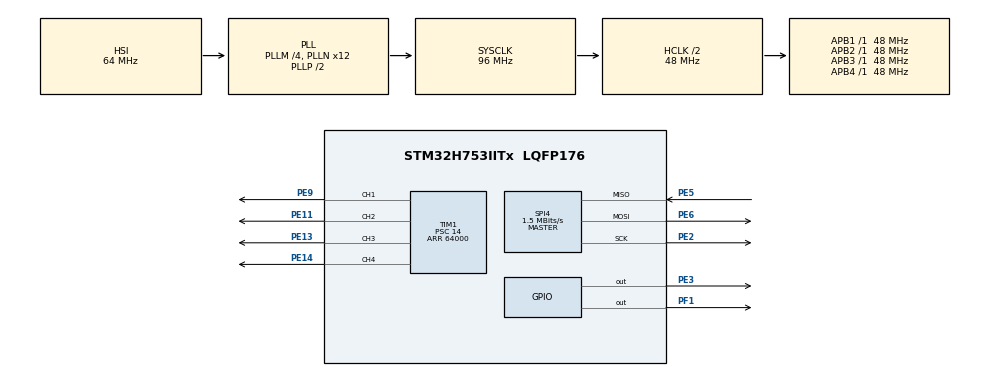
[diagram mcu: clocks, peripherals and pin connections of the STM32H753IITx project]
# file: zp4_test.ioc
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CORTEX_M7.default_mode_Activation=1
Mcu.Family=STM32H7
Mcu.Name=STM32H753IITx
Mcu.Package=LQFP176
NVIC.PriorityGroup=NVIC_PRIORITYGROUP_4
PE11.Signal=S_TIM1_CH2
PE13.Signal=S_TIM1_CH3
PE14.Signal=S_TIM1_CH4
PE2.Mode=Full_Duplex_Master
PE2.Signal=SPI4_SCK
PE3.Signal=GPIO_Output
PE5.Mode=Full_Duplex_Master
PE5.Signal=SPI4_MISO
PE6.Mode=Full_Duplex_Master
PE6.Signal=SPI4_MOSI
PE9.Signal=S_TIM1_CH1
PF1.Signal=GPIO_Output
ProjectManager.HeapSize=0x200
ProjectManager.StackSize=0x400
ProjectManager.TargetToolchain=STM32CubeIDE
RCC.ADCFreq_Value=129000000
RCC.APB1Freq_Value=48000000
RCC.APB2Freq_Value=48000000
RCC.APB3Freq_Value=48000000
RCC.APB4Freq_Value=48000000
RCC.CortexFreq_Value=48000000
RCC.D1CPRE=RCC_SYSCLK_DIV2
RCC.DIVM1=4
RCC.DIVN1=12
RCC.HCLKFreq_Value=48000000
RCC.PLL2FRACN=0
RCC.PLL3FRACN=0
RCC.PLLFRACN=0
RCC.SYSCLKFreq_VALUE=96000000
RCC.SYSCLKSource=RCC_SYSCLKSOURCE_PLLCLK
RCC.USBFreq_Value=96000000
SH.S_TIM1_CH1.0=TIM1_CH1,PWM Generation1 CH1
SH.S_TIM1_CH2.0=TIM1_CH2,PWM Generation2 CH2
SH.S_TIM1_CH3.0=TIM1_CH3,PWM Generation3 CH3
SH.S_TIM1_CH4.0=TIM1_CH4,PWM Generation4 CH4
SPI4.BaudRatePrescaler=SPI_BAUDRATEPRESCALER_32
SPI4.CalculateBaudRate=1.5 MBits/s
SPI4.DataSize=SPI_DATASIZE_8BIT
SPI4.Direction=SPI_DIRECTION_2LINES
SPI4.FirstBit=SPI_FIRSTBIT_LSB
SPI4.Mode=SPI_MODE_MASTER
SPI4.VirtualType=VM_MASTER
TIM1.Channel-PWM\ Generation1\ CH1=TIM_CHANNEL_1
TIM1.Channel-PWM\ Generation2\ CH2=TIM_CHANNEL_2
TIM1.Channel-PWM\ Generation3\ CH3=TIM_CHANNEL_3
TIM1.Channel-PWM\ Generation4\ CH4=TIM_CHANNEL_4
TIM1.Period=64000
TIM1.Prescaler=14
VP_MEMORYMAP_VS_MEMORYMAP.Mode=CurAppReg
VP_TIM1_VS_ClockSourceINT.Mode=Internal
board=custom

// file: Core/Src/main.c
/* USER CODE BEGIN Header */
/**
  ******************************************************************************
  * @file           : main.c
  * @brief          : Main program body
  ******************************************************************************
  * @attention
  *
  * Copyright (c) 2025 STMicroelectronics.
  * All rights reserved.
  *
  * This software is licensed under terms that can be found in the LICENSE file
  * in the root directory of this software component.
  * If no LICENSE file comes with this software, it is provided AS-IS.
  *
  ******************************************************************************
  */
/* USER CODE END Header */
#include "main.h"

SPI_HandleTypeDef hspi4;

TIM_HandleTypeDef htim1;

void SystemClock_Config(void);
static void MPU_Config(void);
static void MX_GPIO_Init(void);
static void MX_TIM1_Init(void);
static void MX_SPI4_Init(void);

/* USER CODE BEGIN 0 */
uint8_t rx[2] = {0}, tx[2] = {0}, rx1[2] = {0};
/* USER CODE END 0 */

int main(void)
{

  /* MPU Configuration--------------------------------------------------------*/
  MPU_Config();

  /* MCU Configuration--------------------------------------------------------*/

  /* Reset of all peripherals, Initializes the Flash interface and the Systick. */
  HAL_Init();

  /* Configure the system clock */
  SystemClock_Config();

  /* Initialize all configured peripherals */
  MX_GPIO_Init();
  MX_TIM1_Init();
  MX_SPI4_Init();
  /* USER CODE BEGIN 2 */

  HAL_TIM_PWM_Start(&htim1, TIM_CHANNEL_1);
  HAL_TIM_PWM_Start(&htim1, TIM_CHANNEL_2);
  HAL_TIM_PWM_Start(&htim1, TIM_CHANNEL_3);
  HAL_TIM_PWM_Start(&htim1, TIM_CHANNEL_4);

  int period = __HAL_TIM_GET_AUTORELOAD(&htim1);
  int throttle = 0;

  HAL_GPIO_WritePin(GPIOE, GPIO_PIN_3, GPIO_PIN_SET);

  HAL_GPIO_WritePin(GPIOF, GPIO_PIN_1, GPIO_PIN_SET);
  HAL_Delay(100);  // Give L9733 time to power up

  // 1111 1111 0011 0101

	tx[0] = 0xFF;
	tx[1] = 0xAC;

	HAL_GPIO_WritePin(GPIOE, GPIO_PIN_3, GPIO_PIN_RESET);
		HAL_SPI_TransmitReceive(&hspi4, tx, rx1, 2, HAL_MAX_DELAY);
	HAL_GPIO_WritePin(GPIOE, GPIO_PIN_3, GPIO_PIN_SET);
  /* USER CODE END 2 */

  /* Infinite loop */
  /* USER CODE BEGIN WHILE */
  while (1)
  {
	  tx[0] = 0xFF;
	tx[1] = 0xAC;
	HAL_SPI_TransmitReceive(&hspi4, tx, rx, 2, HAL_MAX_DELAY);

	  int duty_cycle = period * 0.05 * (1.0 + (100 - abs((throttle % 200) - 100))/100.0);
	  __HAL_TIM_SET_COMPARE(&htim1, TIM_CHANNEL_1, duty_cycle);
	  __HAL_TIM_SET_COMPARE(&htim1, TIM_CHANNEL_2, duty_cycle);
	  __HAL_TIM_SET_COMPARE(&htim1, TIM_CHANNEL_3, duty_cycle);
	  __HAL_TIM_SET_COMPARE(&htim1, TIM_CHANNEL_4, duty_cycle);

	  throttle += 1;

	  HAL_Delay(20);
    /* USER CODE END WHILE */

  }
}

void SystemClock_Config(void)
{
  RCC_OscInitTypeDef RCC_OscInitStruct = {0};
  RCC_ClkInitTypeDef RCC_ClkInitStruct = {0};

  /** Supply configuration update enable
  */
  HAL_PWREx_ConfigSupply(PWR_LDO_SUPPLY);

  /** Configure the main internal regulator output voltage
  */
  __HAL_PWR_VOLTAGESCALING_CONFIG(PWR_REGULATOR_VOLTAGE_SCALE3);

  while(!__HAL_PWR_GET_FLAG(PWR_FLAG_VOSRDY)) {}

  /** Initializes the RCC Oscillators according to the specified parameters
  * in the RCC_OscInitTypeDef structure.
  */
  RCC_OscInitStruct.OscillatorType = RCC_OSCILLATORTYPE_HSI;
  RCC_OscInitStruct.HSIState = RCC_HSI_DIV1;
  RCC_OscInitStruct.HSICalibrationValue = RCC_HSICALIBRATION_DEFAULT;
  RCC_OscInitStruct.PLL.PLLState = RCC_PLL_ON;
  RCC_OscInitStruct.PLL.PLLSource = RCC_PLLSOURCE_HSI;
  RCC_OscInitStruct.PLL.PLLM = 4;
  RCC_OscInitStruct.PLL.PLLN = 12;
  RCC_OscInitStruct.PLL.PLLP = 2;
  RCC_OscInitStruct.PLL.PLLQ = 2;
  RCC_OscInitStruct.PLL.PLLR = 2;
  RCC_OscInitStruct.PLL.PLLRGE = RCC_PLL1VCIRANGE_3;
  RCC_OscInitStruct.PLL.PLLVCOSEL = RCC_PLL1VCOWIDE;
  RCC_OscInitStruct.PLL.PLLFRACN = 0;
  if (HAL_RCC_OscConfig(&RCC_OscInitStruct) != HAL_OK)
  {
    Error_Handler();
  }

  /** Initializes the CPU, AHB and APB buses clocks
  */
  RCC_ClkInitStruct.ClockType = RCC_CLOCKTYPE_HCLK|RCC_CLOCKTYPE_SYSCLK
                              |RCC_CLOCKTYPE_PCLK1|RCC_CLOCKTYPE_PCLK2
                              |RCC_CLOCKTYPE_D3PCLK1|RCC_CLOCKTYPE_D1PCLK1;
  RCC_ClkInitStruct.SYSCLKSource = RCC_SYSCLKSOURCE_PLLCLK;
  RCC_ClkInitStruct.SYSCLKDivider = RCC_SYSCLK_DIV2;
  RCC_ClkInitStruct.AHBCLKDivider = RCC_HCLK_DIV1;
  RCC_ClkInitStruct.APB3CLKDivider = RCC_APB3_DIV1;
  RCC_ClkInitStruct.APB1CLKDivider = RCC_APB1_DIV1;
  RCC_ClkInitStruct.APB2CLKDivider = RCC_APB2_DIV1;
  RCC_ClkInitStruct.APB4CLKDivider = RCC_APB4_DIV1;

  if (HAL_RCC_ClockConfig(&RCC_ClkInitStruct, FLASH_LATENCY_1) != HAL_OK)
  {
    Error_Handler();
  }
}

static void MX_SPI4_Init(void)
{

  /* SPI4 parameter configuration*/
  hspi4.Instance = SPI4;
  hspi4.Init.Mode = SPI_MODE_MASTER;
  hspi4.Init.Direction = SPI_DIRECTION_2LINES;
  hspi4.Init.DataSize = SPI_DATASIZE_16BIT;
  hspi4.Init.CLKPolarity = SPI_POLARITY_LOW;
  hspi4.Init.CLKPhase = SPI_PHASE_1EDGE;
  hspi4.Init.NSS = SPI_NSS_SOFT;
  hspi4.Init.BaudRatePrescaler = SPI_BAUDRATEPRESCALER_32;
  hspi4.Init.FirstBit = SPI_FIRSTBIT_LSB;
  hspi4.Init.TIMode = SPI_TIMODE_DISABLE;
  hspi4.Init.CRCCalculation = SPI_CRCCALCULATION_DISABLE;
  hspi4.Init.CRCPolynomial = 0x0;
  hspi4.Init.NSSPMode = SPI_NSS_PULSE_ENABLE;
  hspi4.Init.NSSPolarity = SPI_NSS_POLARITY_LOW;
  hspi4.Init.FifoThreshold = SPI_FIFO_THRESHOLD_01DATA;
  hspi4.Init.TxCRCInitializationPattern = SPI_CRC_INITIALIZATION_ALL_ZERO_PATTERN;
  hspi4.Init.RxCRCInitializationPattern = SPI_CRC_INITIALIZATION_ALL_ZERO_PATTERN;
  hspi4.Init.MasterSSIdleness = SPI_MASTER_SS_IDLENESS_00CYCLE;
  hspi4.Init.MasterInterDataIdleness = SPI_MASTER_INTERDATA_IDLENESS_00CYCLE;
  hspi4.Init.MasterReceiverAutoSusp = SPI_MASTER_RX_AUTOSUSP_DISABLE;
  hspi4.Init.MasterKeepIOState = SPI_MASTER_KEEP_IO_STATE_DISABLE;
  hspi4.Init.IOSwap = SPI_IO_SWAP_DISABLE;
  if (HAL_SPI_Init(&hspi4) != HAL_OK)
  {
    Error_Handler();
  }

}

static void MX_TIM1_Init(void)
{

  TIM_ClockConfigTypeDef sClockSourceConfig = {0};
  TIM_MasterConfigTypeDef sMasterConfig = {0};
  TIM_OC_InitTypeDef sConfigOC = {0};
  TIM_BreakDeadTimeConfigTypeDef sBreakDeadTimeConfig = {0};

  htim1.Instance = TIM1;
  htim1.Init.Prescaler = 14;
  htim1.Init.CounterMode = TIM_COUNTERMODE_UP;
  htim1.Init.Period = 64000;
  htim1.Init.ClockDivision = TIM_CLOCKDIVISION_DIV1;
  htim1.Init.RepetitionCounter = 0;
  htim1.Init.AutoReloadPreload = TIM_AUTORELOAD_PRELOAD_DISABLE;
  if (HAL_TIM_Base_Init(&htim1) != HAL_OK)
  {
    Error_Handler();
  }
  sClockSourceConfig.ClockSource = TIM_CLOCKSOURCE_INTERNAL;
  if (HAL_TIM_ConfigClockSource(&htim1, &sClockSourceConfig) != HAL_OK)
  {
    Error_Handler();
  }
  if (HAL_TIM_PWM_Init(&htim1) != HAL_OK)
  {
    Error_Handler();
  }
  sMasterConfig.MasterOutputTrigger = TIM_TRGO_RESET;
  sMasterConfig.MasterOutputTrigger2 = TIM_TRGO2_RESET;
  sMasterConfig.MasterSlaveMode = TIM_MASTERSLAVEMODE_DISABLE;
  if (HAL_TIMEx_MasterConfigSynchronization(&htim1, &sMasterConfig) != HAL_OK)
  {
    Error_Handler();
  }
  sConfigOC.OCMode = TIM_OCMODE_PWM1;
  sConfigOC.Pulse = 0;
  sConfigOC.OCPolarity = TIM_OCPOLARITY_HIGH;
  sConfigOC.OCNPolarity = TIM_OCNPOLARITY_HIGH;
  sConfigOC.OCFastMode = TIM_OCFAST_DISABLE;
  sConfigOC.OCIdleState = TIM_OCIDLESTATE_RESET;
  sConfigOC.OCNIdleState = TIM_OCNIDLESTATE_RESET;
  if (HAL_TIM_PWM_ConfigChannel(&htim1, &sConfigOC, TIM_CHANNEL_1) != HAL_OK)
  {
    Error_Handler();
  }
  if (HAL_TIM_PWM_ConfigChannel(&htim1, &sConfigOC, TIM_CHANNEL_2) != HAL_OK)
  {
    Error_Handler();
  }
  if (HAL_TIM_PWM_ConfigChannel(&htim1, &sConfigOC, TIM_CHANNEL_3) != HAL_OK)
  {
    Error_Handler();
  }
  if (HAL_TIM_PWM_ConfigChannel(&htim1, &sConfigOC, TIM_CHANNEL_4) != HAL_OK)
  {
    Error_Handler();
  }
  sBreakDeadTimeConfig.OffStateRunMode = TIM_OSSR_DISABLE;
  sBreakDeadTimeConfig.OffStateIDLEMode = TIM_OSSI_DISABLE;
  sBreakDeadTimeConfig.LockLevel = TIM_LOCKLEVEL_OFF;
  sBreakDeadTimeConfig.DeadTime = 0;
  sBreakDeadTimeConfig.BreakState = TIM_BREAK_DISABLE;
  sBreakDeadTimeConfig.BreakPolarity = TIM_BREAKPOLARITY_HIGH;
  sBreakDeadTimeConfig.BreakFilter = 0;
  sBreakDeadTimeConfig.Break2State = TIM_BREAK2_DISABLE;
  sBreakDeadTimeConfig.Break2Polarity = TIM_BREAK2POLARITY_HIGH;
  sBreakDeadTimeConfig.Break2Filter = 0;
  sBreakDeadTimeConfig.AutomaticOutput = TIM_AUTOMATICOUTPUT_DISABLE;
  if (HAL_TIMEx_ConfigBreakDeadTime(&htim1, &sBreakDeadTimeConfig) != HAL_OK)
  {
    Error_Handler();
  }
  HAL_TIM_MspPostInit(&htim1);

}

static void MX_GPIO_Init(void)
{
  GPIO_InitTypeDef GPIO_InitStruct = {0};

  /* GPIO Ports Clock Enable */
  __HAL_RCC_GPIOE_CLK_ENABLE();
  __HAL_RCC_GPIOF_CLK_ENABLE();

  /*Configure GPIO pin Output Level */
  HAL_GPIO_WritePin(GPIOE, GPIO_PIN_3, GPIO_PIN_RESET);

  /*Configure GPIO pin Output Level */
  HAL_GPIO_WritePin(GPIOF, GPIO_PIN_1, GPIO_PIN_RESET);

  /*Configure GPIO pin : PE3 */
  GPIO_InitStruct.Pin = GPIO_PIN_3;
  GPIO_InitStruct.Mode = GPIO_MODE_OUTPUT_PP;
  GPIO_InitStruct.Pull = GPIO_NOPULL;
  GPIO_InitStruct.Speed = GPIO_SPEED_FREQ_LOW;
  HAL_GPIO_Init(GPIOE, &GPIO_InitStruct);

  /*Configure GPIO pin : PF1 */
  GPIO_InitStruct.Pin = GPIO_PIN_1;
  GPIO_InitStruct.Mode = GPIO_MODE_OUTPUT_PP;
  GPIO_InitStruct.Pull = GPIO_NOPULL;
  GPIO_InitStruct.Speed = GPIO_SPEED_FREQ_LOW;
  HAL_GPIO_Init(GPIOF, &GPIO_InitStruct);

}

 /* MPU Configuration */

void MPU_Config(void)
{
  MPU_Region_InitTypeDef MPU_InitStruct = {0};

  /* Disables the MPU */
  HAL_MPU_Disable();

  /** Initializes and configures the Region and the memory to be protected
  */
  MPU_InitStruct.Enable = MPU_REGION_ENABLE;
  MPU_InitStruct.Number = MPU_REGION_NUMBER0;
  MPU_InitStruct.BaseAddress = 0x0;
  MPU_InitStruct.Size = MPU_REGION_SIZE_4GB;
  MPU_InitStruct.SubRegionDisable = 0x87;
  MPU_InitStruct.TypeExtField = MPU_TEX_LEVEL0;
  MPU_InitStruct.AccessPermission = MPU_REGION_NO_ACCESS;
  MPU_InitStruct.DisableExec = MPU_INSTRUCTION_ACCESS_DISABLE;
  MPU_InitStruct.IsShareable = MPU_ACCESS_SHAREABLE;
  MPU_InitStruct.IsCacheable = MPU_ACCESS_NOT_CACHEABLE;
  MPU_InitStruct.IsBufferable = MPU_ACCESS_NOT_BUFFERABLE;

  HAL_MPU_ConfigRegion(&MPU_InitStruct);
  /* Enables the MPU */
  HAL_MPU_Enable(MPU_PRIVILEGED_DEFAULT);

}

void Error_Handler(void)
{
  __disable_irq();
  while (1)
  {
  }
}
